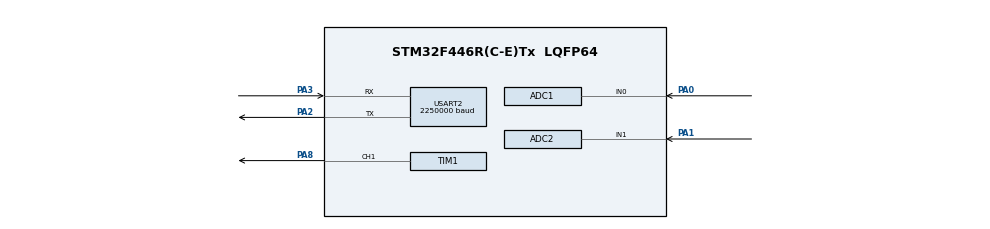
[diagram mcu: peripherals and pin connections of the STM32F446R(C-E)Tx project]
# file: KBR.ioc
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ADC1.Channel-6\#ChannelRegularConversion=ADC_CHANNEL_0
ADC1.ClockPrescaler=ADC_CLOCK_SYNC_PCLK_DIV2
ADC1.ContinuousConvMode=ENABLE
ADC1.DMAContinuousRequests=ENABLE
ADC1.InjNumberOfConversion=0
ADC1.Mode=ADC_DUALMODE_INTERL
ADC1.NbrOfConversion=1
ADC1.NbrOfConversionFlag=1
ADC1.SamplingTime-6\#ChannelRegularConversion=ADC_SAMPLETIME_3CYCLES
ADC1.TwoSamplingDelay=ADC_TWOSAMPLINGDELAY_15CYCLES
ADC1.master=1
ADC2.Channel-2\#ChannelRegularConversion=ADC_CHANNEL_1
ADC2.DMAAccessMode=ADC_DMAACCESSMODE_2
ADC2.Mode=ADC_DUALMODE_INTERL
ADC2.NbrOfConversionFlag=1
ADC2.Rank-2\#ChannelRegularConversion=1
ADC2.SamplingTime-2\#ChannelRegularConversion=ADC_SAMPLETIME_3CYCLES
ADC2.TwoSamplingDelay=ADC_TWOSAMPLINGDELAY_15CYCLES
Dma.ADC1.0.Direction=DMA_PERIPH_TO_MEMORY
Dma.ADC1.0.FIFOMode=DMA_FIFOMODE_DISABLE
Dma.ADC1.0.Instance=DMA2_Stream0
Dma.ADC1.0.MemDataAlignment=DMA_MDATAALIGN_WORD
Dma.ADC1.0.MemInc=DMA_MINC_ENABLE
Dma.ADC1.0.Mode=DMA_CIRCULAR
Dma.ADC1.0.PeriphDataAlignment=DMA_PDATAALIGN_WORD
Dma.ADC1.0.PeriphInc=DMA_PINC_DISABLE
Dma.ADC1.0.Priority=DMA_PRIORITY_HIGH
Dma.Request0=ADC1
Dma.Request1=USART2_TX
Dma.USART2_TX.1.Direction=DMA_MEMORY_TO_PERIPH
Dma.USART2_TX.1.FIFOMode=DMA_FIFOMODE_DISABLE
Dma.USART2_TX.1.Instance=DMA1_Stream6
Dma.USART2_TX.1.MemDataAlignment=DMA_MDATAALIGN_BYTE
Dma.USART2_TX.1.MemInc=DMA_MINC_ENABLE
Dma.USART2_TX.1.Mode=DMA_NORMAL
Dma.USART2_TX.1.PeriphDataAlignment=DMA_PDATAALIGN_BYTE
Dma.USART2_TX.1.PeriphInc=DMA_PINC_DISABLE
Dma.USART2_TX.1.Priority=DMA_PRIORITY_LOW
Mcu.Family=STM32F4
Mcu.Name=STM32F446R(C-E)Tx
Mcu.Package=LQFP64
NVIC.DMA1_Stream6_IRQn=true\:0\:0\:false\:false\:true\:false\:true\:true
NVIC.DMA2_Stream0_IRQn=true\:0\:0\:false\:false\:true\:false\:true\:true
NVIC.PriorityGroup=NVIC_PRIORITYGROUP_0
NVIC.USART2_IRQn=true\:0\:0\:false\:false\:true\:true\:true\:true
PA0-WKUP.Signal=ADCx_IN0
PA1.Signal=ADCx_IN1
PA13.GPIO_Label=TMS
PA13.Mode=Serial_Wire
PA13.Signal=SYS_JTMS-SWDIO
PA14.GPIO_Label=TCK
PA14.Mode=Serial_Wire
PA14.Signal=SYS_JTCK-SWCLK
PA2.GPIO_ModeDefaultPP=GPIO_MODE_AF_PP
PA2.GPIO_PuPd=GPIO_NOPULL
PA2.GPIO_Speed=GPIO_SPEED_FREQ_VERY_HIGH
PA2.Mode=Asynchronous
PA2.Signal=USART2_TX
PA3.GPIO_ModeDefaultPP=GPIO_MODE_AF_PP
PA3.GPIO_PuPd=GPIO_NOPULL
PA3.GPIO_Speed=GPIO_SPEED_FREQ_VERY_HIGH
PA3.Mode=Asynchronous
PA3.Signal=USART2_RX
PA8.Signal=S_TIM1_CH1
PB3.GPIO_Label=SWO
PB3.Signal=SYS_JTDO-SWO
PC14-OSC32_IN.Mode=LSE-External-Oscillator
PC14-OSC32_IN.Signal=RCC_OSC32_IN
PC15-OSC32_OUT.Mode=LSE-External-Oscillator
PC15-OSC32_OUT.Signal=RCC_OSC32_OUT
PH0-OSC_IN.Mode=HSE-External-Oscillator
PH0-OSC_IN.Signal=RCC_OSC_IN
PH1-OSC_OUT.Mode=HSE-External-Oscillator
PH1-OSC_OUT.Signal=RCC_OSC_OUT
ProjectManager.HeapSize=0x200
ProjectManager.StackSize=0x400
ProjectManager.TargetToolchain=CMake
RCC.48MHZClocksFreq_Value=84000000
RCC.AHBFreq_Value=144000000
RCC.APB1CLKDivider=RCC_HCLK_DIV4
RCC.APB1Freq_Value=36000000
RCC.APB1TimFreq_Value=72000000
RCC.APB2CLKDivider=RCC_HCLK_DIV2
RCC.APB2Freq_Value=72000000
RCC.APB2TimFreq_Value=144000000
RCC.CortexFreq_Value=144000000
RCC.FLatency-AdvancedSettings=FLASH_LATENCY_4
RCC.HCLKFreq_Value=144000000
RCC.HSE_VALUE=8000000
RCC.HSI_VALUE=16000000
RCC.PLLI2SM=2
RCC.PLLI2SN=50
RCC.PLLM=4
RCC.PLLN=144
RCC.PLLSAIM=2
RCC.PLLSAIN=50
RCC.PLLSAIP=RCC_PLLSAIP_DIV4
RCC.PLLSourceVirtual=RCC_PLLSOURCE_HSE
RCC.SYSCLKFreq_VALUE=144000000
RCC.SYSCLKSource=RCC_SYSCLKSOURCE_PLLCLK
RCC.USBCLockSelection=RCC_CLK48CLKSOURCE_PLLSAIP
RCC.USBFreq_Value=50000000
RCC.VCOOutputFreq_Value=288000000
SH.ADCx_IN0.0=ADC1_IN0,IN0
SH.ADCx_IN1.0=ADC2_IN1,IN1
SH.S_TIM1_CH1.0=TIM1_CH1,PWM Generation1 CH1
TIM1.AutoReloadPreload=TIM_AUTORELOAD_PRELOAD_ENABLE
TIM1.Channel-PWM\ Generation1\ CH1=TIM_CHANNEL_1
TIM1.Period=71
TIM1.Prescaler=999
TIM1.Pulse-PWM\ Generation1\ CH1=36
USART2.BaudRate=2250000
USART2.VirtualMode=VM_ASYNC
VP_CRC_VS_CRC.Mode=CRC_Activate
VP_TIM1_VS_ClockSourceINT.Mode=Internal
board=NUCLEO-F446RE

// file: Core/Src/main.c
/* USER CODE BEGIN Header */

/* USER CODE END Header */
#include "main.h"
#include "adc.h"
#include "arm_math_types.h"
#include "crc.h"
#include "dma.h"
#include "stm32f4xx_ll_adc.h"
#include "tim.h"
#include "usart.h"
#include "gpio.h"
#include <stddef.h>
#include <stdint.h>
#include <stdlib.h>
#include <string.h>

/* USER CODE BEGIN PV */

uint32_t DMA_ADC_buffer[UART_ADC_PAYLOAD_U16_SIZE];
volatile uint32_t* DMA_ADC_bufferHalf;

static uint8_t ADC_txPacket[UART_ADC_PACKET_BYTE_SIZE] = { UART_PREHEADER, UART_HEADER_RAW };
static uint8_t FFT_txPacket[UART_FFT_PACKET_BYTE_SIZE] = { UART_PREHEADER, UART_HEADER_FFT };

static const float32_t QUANT_STEP = 3.3f / ((1 << 12) - 1);
static float32_t ADC_voltData[UART_ADC_PAYLOAD_U16_SIZE];

#ifdef DBG
uint32_t delta_time[5];
#endif // DBG

/* USER CODE END PV */

void SystemClock_Config(void);

int main(void)
{

  /* USER CODE BEGIN 1 */

  arm_rfft_fast_instance_f32 S;
  arm_rfft_fast_init_f32(&S, FFT_SIZE);

  /* USER CODE END 1 */

  /* MCU Configuration--------------------------------------------------------*/

  /* Reset of all peripherals, Initializes the Flash interface and the Systick. */
  LL_APB2_GRP1_EnableClock(LL_APB2_GRP1_PERIPH_SYSCFG);
  LL_APB1_GRP1_EnableClock(LL_APB1_GRP1_PERIPH_PWR);

  /* System interrupt init*/
  NVIC_SetPriorityGrouping(NVIC_PRIORITYGROUP_0);

  /* Configure the system clock */
  SystemClock_Config();

  /* USER CODE BEGIN SysInit */

#ifdef DBG
  CoreDebug->DEMCR |= CoreDebug_DEMCR_TRCENA_Msk;
  DWT->CYCCNT = 0;
  DWT->CTRL |= DWT_CTRL_CYCCNTENA_Msk;
#endif // DBG

  /* USER CODE END SysInit */

  /* Initialize all configured peripherals */
  MX_GPIO_Init();
  MX_DMA_Init();
  MX_ADC1_Init();
  MX_USART2_UART_Init();
  MX_CRC_Init();
  MX_TIM1_Init();
  MX_ADC2_Init();
  /* USER CODE BEGIN 2 */

  LL_DMA_SetMemoryAddress(DMA2, LL_DMA_STREAM_0, (uint32_t)DMA_ADC_buffer);
  LL_DMA_SetDataLength(DMA2, LL_DMA_STREAM_0, UART_ADC_PAYLOAD_U16_SIZE);

  DMA_startStream(DMA2, LL_DMA_STREAM_0, 0);

  LL_ADC_Enable(ADC1);
  LL_ADC_Enable(ADC2);
  while(!LL_ADC_IsEnabled(ADC1) && !LL_ADC_IsEnabled(ADC2)) {}
  LL_mDelay(1);

  if(LL_ADC_REG_IsTriggerSourceSWStart(ADC1))
  {
    LL_ADC_REG_StartConversionSWStart(ADC1);
  }

  /* USER CODE END 2 */

  /* Infinite loop */
  /* USER CODE BEGIN WHILE */

  while (1) {
    static volatile bool readyFft = false;

    if(DMA_ADC_bufferHalf)
    {
      memcpy(ADC_txPacket + UART_HEADER_BYTE_SIZE, (const void *)DMA_ADC_bufferHalf, UART_ADC_PAYLOAD_BYTE_SIZE);
      UART_send(ADC_txPacket, UART_ADC_PACKET_BYTE_SIZE);

      if(!readyFft)
      {
        const size_t ADC_payloadHalfSize = UART_ADC_PAYLOAD_U16_SIZE >> 1;
        for(uint32_t i = 0; i < ADC_payloadHalfSize; i++)
        {
          ADC_voltData[i] = (*DMA_ADC_bufferHalf & 0xFFFF) * QUANT_STEP;
          ADC_voltData[ADC_payloadHalfSize + i] = (*DMA_ADC_bufferHalf >> 16) * QUANT_STEP;
          DMA_ADC_bufferHalf ++;
        }
        readyFft = true;
      }

      DMA_ADC_bufferHalf = NULL;
    }

    if(readyFft)
    {
      fftMagCalc(&S, ADC_voltData, (float32_t*)(FFT_txPacket + UART_HEADER_BYTE_SIZE));
      fftMagCalc(&S, ADC_voltData + FFT_SIZE, (float32_t*)(FFT_txPacket + UART_HEADER_BYTE_SIZE + (UART_FFT_PAYLOAD_BYTE_SIZE >> 1)));

      UART_send(FFT_txPacket, UART_FFT_PACKET_BYTE_SIZE);

      readyFft = false;
    }

    /* USER CODE END WHILE */

  }
}

void SystemClock_Config(void)
{
  LL_FLASH_SetLatency(LL_FLASH_LATENCY_4);
  while(LL_FLASH_GetLatency()!= LL_FLASH_LATENCY_4)
  {
  }
  LL_PWR_SetRegulVoltageScaling(LL_PWR_REGU_VOLTAGE_SCALE1);
  LL_PWR_DisableOverDriveMode();
  LL_RCC_HSE_Enable();

   /* Wait till HSE is ready */
  while(LL_RCC_HSE_IsReady() != 1)
  {

  }
  LL_RCC_PLL_ConfigDomain_SYS(LL_RCC_PLLSOURCE_HSE, LL_RCC_PLLM_DIV_4, 144, LL_RCC_PLLP_DIV_2);
  LL_RCC_PLL_Enable();

   /* Wait till PLL is ready */
  while(LL_RCC_PLL_IsReady() != 1)
  {

  }
  while (LL_PWR_IsActiveFlag_VOS() == 0)
  {
  }
  LL_RCC_SetAHBPrescaler(LL_RCC_SYSCLK_DIV_1);
  LL_RCC_SetAPB1Prescaler(LL_RCC_APB1_DIV_4);
  LL_RCC_SetAPB2Prescaler(LL_RCC_APB2_DIV_2);
  LL_RCC_SetSysClkSource(LL_RCC_SYS_CLKSOURCE_PLL);

   /* Wait till System clock is ready */
  while(LL_RCC_GetSysClkSource() != LL_RCC_SYS_CLKSOURCE_STATUS_PLL)
  {

  }
  LL_Init1msTick(144000000);
  LL_SetSystemCoreClock(144000000);
  LL_RCC_SetTIMPrescaler(LL_RCC_TIM_PRESCALER_TWICE);
}

void Error_Handler(void)
{
  __disable_irq();
  while (1) {
  }
}
#ifdef USE_FULL_ASSERT
/**
  * @brief  Reports the name of the source file and the source line number
  *         where the assert_param error has occurred.
  * @param  file: pointer to the source file name
  * @param  line: assert_param error line source number
  * @retval None
  */
void assert_failed(uint8_t *file, uint32_t line)
{
  /* USER CODE BEGIN 6 */
  /* User can add his own implementation to report the file name and line
     number, ex: printf("Wrong parameters value: file %s on line %d\r\n", file,
     line) */
  /* USER CODE END 6 */
}
#endif /* USE_FULL_ASSERT */
